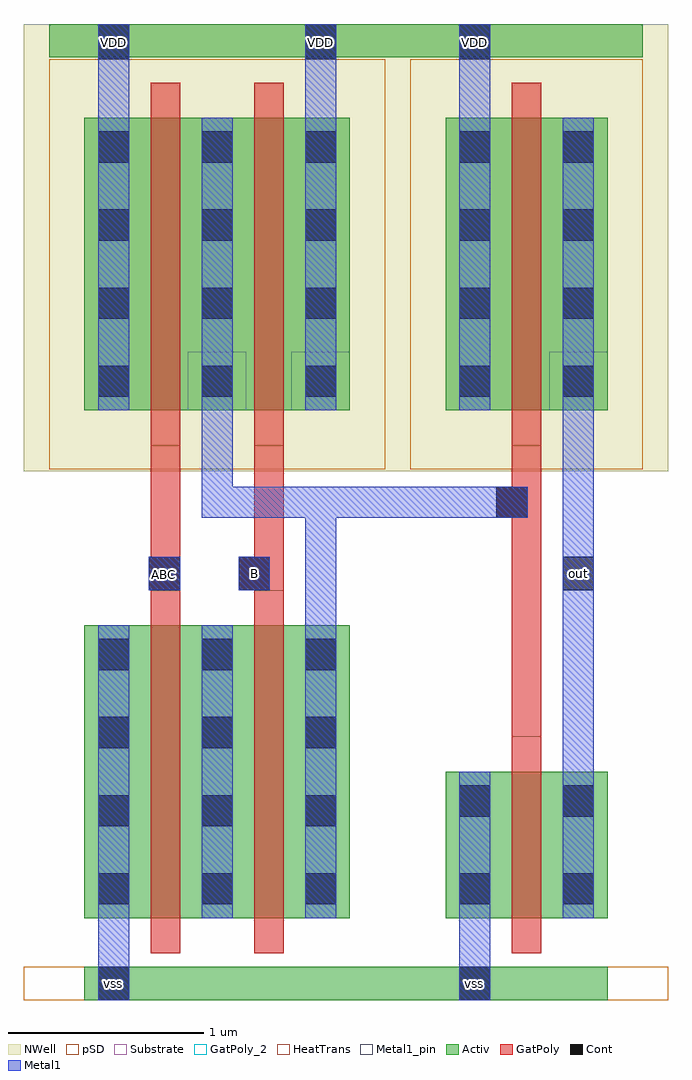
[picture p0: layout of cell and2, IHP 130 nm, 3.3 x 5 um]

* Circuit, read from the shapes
.subckt and2 ABC B VDD out vss
XM1 n1 ABC vss vss sg13_lv_nmos w=1.5u l=0.15u
XM2 n2 B n1 vss sg13_lv_nmos w=1.5u l=0.15u
XM3 out n2 vss vss sg13_lv_nmos w=0.75u l=0.15u
XM4 n2 ABC VDD VDD sg13_lv_pmos w=1.5u l=0.15u
XM5 VDD B n2 VDD sg13_lv_pmos w=1.5u l=0.15u
XM6 out n2 VDD VDD sg13_lv_pmos w=1.5u l=0.15u
.ends

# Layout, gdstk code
import gdstk
lib = gdstk.Library(unit=1e-6, precision=5e-09)
def R(c, l, rs):  # rectangles x0, y0, x1, y1
    for r in rs: c.add(gdstk.rectangle(r[:2], r[2:], *l))
def A(c, l, x, y, w, h, nx, ny, dx, dy):  # array of equal rectangles
    R(c, l, [(x+i*dx, y+j*dy, x+i*dx+w, y+j*dy+h) for i in range(nx) for j in range(ny)])
Activ = (1, 0)
GatPoly = (5, 0)
GatPoly_2 = (5, 2)
Cont = (6, 0)
Metal1 = (8, 0)
Metal1_pin = (8, 2)
pSD = (14, 0)
NWell = (31, 0)
Substrate = (40, 0)
HeatTrans = (51, 0)

nmos_1 = lib.new_cell('nmos$1')
R(nmos_1, Activ, [(0,0,0.3,0.3), (0,0,0.83,1.5), (0.53,0,0.83,0.3)])
R(nmos_1, GatPoly, [(0.34,-0.18,0.49,1.68)])
R(nmos_1, GatPoly_2, [(0.34,-0.18,0.49,1.68)])
A(nmos_1, Cont, 0.07, 0.07, 0.16, 0.16, 1, 4, 0, 0.4)
A(nmos_1, Cont, 0.6, 0.07, 0.16, 0.16, 1, 4, 0, 0.4)
R(nmos_1, Metal1, [(0.07,0,0.23,1.5), (0.6,0,0.76,1.5)])
R(nmos_1, Metal1_pin, [(0.07,0,0.23,1.5), (0.6,0,0.76,1.5)])
R(nmos_1, HeatTrans, [(0.34,-0.18,0.49,1.68)])
nmos_1.add(gdstk.Label('nmos', (0.415,0.75), layer=63, texttype=0))
nmos_1.add(gdstk.Label('nmos', (0.415,0.75), layer=51, texttype=0))

pmos_1 = lib.new_cell('pmos$1')
R(pmos_1, Activ, [(0,0,0.3,0.3), (0,0,0.83,1.5), (0.53,0,0.83,0.3)])
R(pmos_1, GatPoly, [(0.34,-0.18,0.49,1.68), (0.34,-0.18,0.49,1.68)])
A(pmos_1, Cont, 0.07, 0.07, 0.16, 0.16, 1, 4, 0, 0.4)
A(pmos_1, Cont, 0.6, 0.07, 0.16, 0.16, 1, 4, 0, 0.4)
R(pmos_1, Metal1, [(0.07,0,0.23,1.5), (0.07,0,0.23,1.5), (0.6,0,0.76,1.5), (0.6,0,0.76,1.5)])
R(pmos_1, pSD, [(-0.18,-0.3,1.01,1.8)])
R(pmos_1, NWell, [(-0.31,-0.31,1.14,1.81)])
R(pmos_1, Substrate, [(0.53,0,0.83,0.3)])
R(pmos_1, HeatTrans, [(0.34,-0.18,0.49,1.68)])
pmos_1.add(gdstk.Label('pmos', (0.415,0.75), layer=63, texttype=0))
pmos_1.add(gdstk.Label('pmos', (0.415,0.75), layer=51, texttype=0))

nmos = lib.new_cell('nmos')
R(nmos, Activ, [(0,0,0.3,0.3), (0,0,0.83,0.75), (0.53,0,0.83,0.3)])
R(nmos, GatPoly, [(0.34,-0.18,0.49,0.93)])
R(nmos, GatPoly_2, [(0.34,-0.18,0.49,0.93)])
R(nmos, Cont, [(0.07,0.07,0.23,0.23), (0.6,0.07,0.76,0.23), (0.07,0.52,0.23,0.68), (0.6,0.52,0.76,0.68)])
R(nmos, Metal1, [(0.07,0,0.23,0.75), (0.6,0,0.76,0.75)])
R(nmos, Metal1_pin, [(0.07,0,0.23,0.75), (0.6,0,0.76,0.75)])
R(nmos, HeatTrans, [(0.34,-0.18,0.49,0.93)])
nmos.add(gdstk.Label('nmos', (0.415,0.375), layer=63, texttype=0))
nmos.add(gdstk.Label('nmos', (0.415,0.375), layer=51, texttype=0))

and2 = lib.new_cell('and2')
R(and2, Activ, [(-0.73,-2.415,1.95,-2.245), (-0.91,2.415,2.13,2.585)])
R(and2, GatPoly, [(1.46,-1.065,1.61,0.425), (-0.4,-0.315,-0.385,-0.145), (-0.39,-0.315,-0.24,0.425), (0.06,-0.315,0.14,-0.145), (0.14,-0.315,0.29,0.425), (1.38,0.055,1.46,0.215)])
R(and2, Cont, [(-0.66,-2.415,-0.5,-2.245), (1.19,-2.415,1.35,-2.245), (-0.4,-0.315,-0.24,-0.145), (0.06,-0.315,0.22,-0.145), (1.72,-0.315,1.88,-0.145), (1.38,0.055,1.54,0.215), (-0.66,2.405,-0.5,2.585), (0.4,2.405,0.56,2.585), (1.19,2.405,1.35,2.585)])
R(and2, Metal1, [(-0.66,-2.415,-0.5,-1.995), (1.19,-2.415,1.35,-1.995), (1.72,-1.245,1.88,0.605), (0.4,-0.495,0.56,0.215), (-0.4,-0.315,-0.24,-0.145), (0.06,-0.315,0.22,-0.145), (1.72,-0.315,1.88,-0.145), (-0.66,2.105,-0.5,2.585), (0.4,2.105,0.56,2.585), (1.19,2.105,1.35,2.585)])
R(and2, Metal1_pin, [(-0.66,-2.415,-0.5,-2.245), (1.19,-2.415,1.35,-2.245), (-0.4,-0.315,-0.24,-0.145), (0.06,-0.315,0.22,-0.145), (1.72,-0.315,1.88,-0.145), (-0.66,2.405,-0.5,2.585), (0.4,2.405,0.56,2.585), (1.19,2.405,1.35,2.585)])
R(and2, pSD, [(-1.04,-2.415,2.26,-2.245)])
R(and2, NWell, [(-1.04,2.415,2.26,2.585)])
and2.add(gdstk.FlexPath([(-0.05,0.605),(-0.05,0.135),(1.54,0.135)], 0.16, ends="flush", simple_path=True, layer=8, datatype=0))  # Metal1
and2.add(gdstk.Reference(nmos_1, (-0.73,-1.995)))
and2.add(gdstk.Reference(pmos_1, (-0.2,0.605)))
and2.add(gdstk.Reference(nmos_1, (-0.2,-1.995)))
and2.add(gdstk.Reference(pmos_1, (1.12,0.605)))
and2.add(gdstk.Reference(pmos_1, (-0.73,0.605)))
and2.add(gdstk.Reference(nmos, (1.12,-1.995)))
and2.add(gdstk.Label('VDD', (-0.58,2.49), layer=8, texttype=2))
and2.add(gdstk.Label('vss', (-0.58,-2.33), layer=8, texttype=2))
and2.add(gdstk.Label('ABC', (-0.325,-0.235), layer=8, texttype=2))
and2.add(gdstk.Label('B', (0.14,-0.23), layer=8, texttype=2))
and2.add(gdstk.Label('vss', (1.27,-2.33), layer=8, texttype=2))
and2.add(gdstk.Label('VDD', (0.48,2.49), layer=8, texttype=2))
and2.add(gdstk.Label('VDD', (1.27,2.49), layer=8, texttype=2))
and2.add(gdstk.Label('out', (1.8,-0.23), layer=8, texttype=2))

lib.write_gds('and2.gds')
